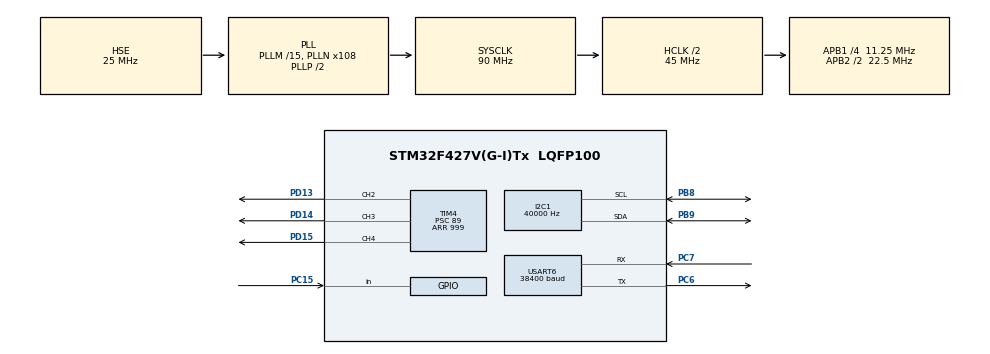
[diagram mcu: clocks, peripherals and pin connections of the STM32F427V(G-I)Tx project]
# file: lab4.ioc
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I2C1.ClockSpeed=40000
Mcu.Family=STM32F4
Mcu.Name=STM32F427V(G-I)Tx
Mcu.Package=LQFP100
NVIC.PriorityGroup=NVIC_PRIORITYGROUP_4
NVIC.USART6_IRQn=true\:0\:0\:false\:false\:true\:true\:true\:true
PB8.Mode=I2C
PB8.Signal=I2C1_SCL
PB9.Mode=I2C
PB9.Signal=I2C1_SDA
PC15/OSC32_OUT.Signal=GPIO_Input
PC6.Mode=Asynchronous
PC6.Signal=USART6_TX
PC7.Mode=Asynchronous
PC7.Signal=USART6_RX
PD13.Signal=S_TIM4_CH2
PD14.Signal=S_TIM4_CH3
PD15.Signal=S_TIM4_CH4
PH0/OSC_IN.Mode=HSE-External-Oscillator
PH0/OSC_IN.Signal=RCC_OSC_IN
PH1/OSC_OUT.Mode=HSE-External-Oscillator
PH1/OSC_OUT.Signal=RCC_OSC_OUT
ProjectManager.HeapSize=0x200
ProjectManager.StackSize=0x400
ProjectManager.TargetToolchain=STM32CubeIDE
RCC.48MHZClocksFreq_Value=45000000
RCC.AHBCLKDivider=RCC_SYSCLK_DIV2
RCC.AHBFreq_Value=45000000
RCC.APB1CLKDivider=RCC_HCLK_DIV4
RCC.APB1Freq_Value=11250000
RCC.APB1TimFreq_Value=22500000
RCC.APB2CLKDivider=RCC_HCLK_DIV2
RCC.APB2Freq_Value=22500000
RCC.APB2TimFreq_Value=45000000
RCC.CortexFreq_Value=45000000
RCC.HCLKFreq_Value=45000000
RCC.HSE_VALUE=25000000
RCC.HSI_VALUE=16000000
RCC.LSE_VALUE=32768
RCC.PLLM=15
RCC.PLLN=108
RCC.PLLSourceVirtual=RCC_PLLSOURCE_HSE
RCC.SYSCLKFreq_VALUE=90000000
RCC.SYSCLKSource=RCC_SYSCLKSOURCE_PLLCLK
RCC.VCOOutputFreq_Value=180000000
SH.S_TIM4_CH2.0=TIM4_CH2,PWM Generation2 CH2
SH.S_TIM4_CH3.0=TIM4_CH3,PWM Generation3 CH3
SH.S_TIM4_CH4.0=TIM4_CH4,PWM Generation4 CH4
TIM4.Channel-PWM\ Generation2\ CH2=TIM_CHANNEL_2
TIM4.Channel-PWM\ Generation3\ CH3=TIM_CHANNEL_3
TIM4.Channel-PWM\ Generation4\ CH4=TIM_CHANNEL_4
TIM4.Period=999
TIM4.Prescaler=89
TIM4.Pulse-PWM\ Generation2\ CH2=500
TIM4.Pulse-PWM\ Generation3\ CH3=500
TIM4.Pulse-PWM\ Generation4\ CH4=500
USART6.BaudRate=38400
USART6.VirtualMode=VM_ASYNC
VP_TIM4_VS_ClockSourceINT.Mode=Internal
board=custom

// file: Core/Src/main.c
/* USER CODE BEGIN Header */
/**
 ******************************************************************************
 * @file           : main.c
 * @brief          : Main program body
 ******************************************************************************
 * @attention
 *
 * Copyright (c) 2025 STMicroelectronics.
 * All rights reserved.
 *
 * This software is licensed under terms that can be found in the LICENSE file
 * in the root directory of this software component.
 * If no LICENSE file comes with this software, it is provided AS-IS.
 *
 ******************************************************************************
 */
/* USER CODE END Header */
#include "main.h"
#include "i2c.h"
#include "tim.h"
#include "usart.h"
#include "gpio.h"
#include "button_driver.h"

/* USER CODE BEGIN Includes */
#include "usart_drv.h"
#include <stdio.h>
#include <stdint.h>
/* USER CODE END Includes */

/* USER CODE BEGIN PTD */
typedef enum
{
  PRACTICAL_MODE,
  KEYBOARD_TEST_MODE
} CurrentMode_t;
CurrentMode_t current_mode = PRACTICAL_MODE;

typedef struct {
    int last_state;
    uint32_t last_tick;
    bool pressed_flag;
} KB_Button_t;

typedef enum
{
  MODE_WORK,
  MODE_CONFIG_SLOT,
  MODE_CONFIG_COLOR,
  MODE_CONFIG_BRIGHTNESS
} Mode_t;
Mode_t mode = MODE_WORK;

typedef enum
{
  LED_GREEN,
  LED_YELLOW,
  LED_RED
} LedColor_t;

typedef struct
{
  LedColor_t color;
  uint8_t duty;
} LedSlot_t;

LedSlot_t slots[9] = {
    {LED_GREEN, 10}, {LED_GREEN, 40}, {LED_GREEN, 100}, {LED_YELLOW, 10}, {LED_YELLOW, 40}, {LED_YELLOW, 100}, {LED_RED, 10}, {LED_RED, 40}, {LED_RED, 100}};

uint8_t selected_slot = 0;
/* USER CODE END PTD */

/* USER CODE BEGIN PD */
#define KB_ADDR (0x71 << 1)

#define BUF_SIZE 8192

#define KB_I2C_ADDRESS (0xE2)
#define KB_I2C_READ_ADDRESS ((KB_I2C_ADDRESS) | 1)
#define KB_I2C_WRITE_ADDRESS ((KB_I2C_ADDRESS) & ~1)
#define KB_INPUT_REG (0x0)
#define KB_OUTPUT_REG (0x1)
#define KB_CONFIG_REG (0x3)
#define KB_DEBOUNCE_DELAY_MS (50)
#define KB_MAX_KEYS 12
/* USER CODE END PD */

void SystemClock_Config(void);
/* USER CODE BEGIN PFP */
void uart_println(const char *s)
{
  USART_DRV_TxStr(s);
  USART_DRV_TxStr("\n");
}
void set_led_pwm(LedSlot_t cfg)
{
  __HAL_TIM_SET_COMPARE(&htim4, TIM_CHANNEL_2, 0);
  __HAL_TIM_SET_COMPARE(&htim4, TIM_CHANNEL_3, 0);
  __HAL_TIM_SET_COMPARE(&htim4, TIM_CHANNEL_4, 0);

  uint32_t value = cfg.duty * 10;

  switch (cfg.color)
  {
  case LED_GREEN:
    __HAL_TIM_SET_COMPARE(&htim4, TIM_CHANNEL_2, value);
    break;
  case LED_YELLOW:
    __HAL_TIM_SET_COMPARE(&htim4, TIM_CHANNEL_3, value);
    break;
  case LED_RED:
    __HAL_TIM_SET_COMPARE(&htim4, TIM_CHANNEL_4, value);
    break;
  }
}

static uint8_t edit_slot = 0;

void handle_input(int input)
{
  if ((mode == MODE_CONFIG_SLOT) && (input >= 1 && input <= 9))
  {
    edit_slot = input - 1;
    set_led_pwm(slots[edit_slot]);
    mode = MODE_CONFIG_COLOR;
    uart_println("Select LED color: 1(green), 2(yellow), 3(red)");
  }
  else if ((mode == MODE_CONFIG_COLOR) && (input == 1 || input == 2 || input == 3))
  {
    switch (input)
    {
    case 1:
      slots[edit_slot].color = LED_GREEN;
      break;
    case 2:
      slots[edit_slot].color = LED_YELLOW;
      break;
    case 3:
      slots[edit_slot].color = LED_RED;
      break;
    }
    set_led_pwm(slots[edit_slot]);
    mode = MODE_CONFIG_BRIGHTNESS;
    uart_println("Use +/- to change brightness, Enter to save");
  }
  else if ((mode == MODE_CONFIG_BRIGHTNESS) && (input == 1 || input == 2))
  {
    int delta = (input == 1) ? 10 : -10;
    int result = slots[edit_slot].duty + delta;
    if (result > 100)
    {
      result = 100;
    }
    else if (result < 0)
    {
      result = 0;
    }
    slots[edit_slot].duty = result;
    set_led_pwm(slots[edit_slot]);

    char buf[32];
    sprintf(buf, "Brightness: %d%%", slots[edit_slot].duty);
    uart_println(buf);
  }
  else if (input == 12)
  {
    mode = MODE_WORK;
    uart_println("Saved, back to WORK mode");
  }
  else
  {
    uart_println("Invalid input");
  }
}

static KB_Button_t kb_button = { .last_state = -1, .last_tick = 0, .pressed_flag = false };
int KB_ScanRaw(void)
{
    uint8_t reg_buffer = 0xFF;
    uint8_t tmp = 0x00;
    int i = 0;
    int index = -1;

    HAL_I2C_Mem_Write(&hi2c1, KB_I2C_WRITE_ADDRESS, KB_OUTPUT_REG, 1, &tmp, 1, 100);

    for (int row = 0; row < 4; row++)
    {
        uint8_t cfg = ~(1 << row);
        HAL_I2C_Mem_Write(&hi2c1, KB_I2C_WRITE_ADDRESS, KB_CONFIG_REG, 1, &cfg, 1, 100);
        HAL_Delay(5);
        HAL_I2C_Mem_Read(&hi2c1, KB_I2C_READ_ADDRESS, KB_INPUT_REG, 1, &reg_buffer, 1, 100);

        uint8_t colbits = reg_buffer >> 4;

        if (colbits != 7 && index != -1)
            return -1;

        switch (colbits)
        {
            case 6:
            	index = (i==0)? row*3 + 1 : -1;
            	i++;
            	break;
            case 5:
            	index = (i==0)? row*3 + 2 : -1;
            	i++;
            	break;
            case 3:
            	index = (i==0)? row*3 + 3 : -1;
            	i++;
            	break;
            default: break;
        }
    }

    return index;
}

int KB_Scan(void)
{
    int raw = KB_ScanRaw();
    uint32_t tick = HAL_GetTick();

    if (raw != kb_button.last_state)
    {
        if ((tick - kb_button.last_tick) >= KB_DEBOUNCE_DELAY_MS)
        {
            kb_button.last_state = raw;
            kb_button.last_tick = tick;
            if (raw != -1)
            {
                kb_button.pressed_flag = true;
            }
        }
    }
    else
    {
        kb_button.last_tick = tick;
    }

    if (kb_button.pressed_flag)
    {
        kb_button.pressed_flag = false;
        return kb_button.last_state;
    }
    return -1;
}

/* USER CODE END PFP */

int main(void)
{

  /* MCU Configuration--------------------------------------------------------*/

  /* Reset of all peripherals, Initializes the Flash interface and the Systick. */
  HAL_Init();

  /* Configure the system clock */
  SystemClock_Config();

  /* Initialize all configured peripherals */
  MX_GPIO_Init();
  MX_I2C1_Init();
  MX_TIM4_Init();
  MX_USART6_UART_Init();
  /* USER CODE BEGIN 2 */
  USART_DRV_Init(&huart6);
  USART_DRV_EnableInterrupts(true);
  USART_DRV_SetEcho(true);

  HAL_TIM_PWM_Start(&htim4, TIM_CHANNEL_2);
  HAL_TIM_PWM_Start(&htim4, TIM_CHANNEL_3);
  HAL_TIM_PWM_Start(&htim4, TIM_CHANNEL_4);
  set_led_pwm(slots[selected_slot]);

//  uint8_t config = 0b11110000;
//  HAL_I2C_Mem_Write(&hi2c1, KB_ADDR, 0x03, 1, &config, 1, 100);
  /* USER CODE END 2 */

  /* Infinite loop */
  /* USER CODE BEGIN WHILE */
  int input = -1;
  while (1)
  {
    BUTTON_Process();

    if (BUTTON_WasPressed())
    {
      if (current_mode == PRACTICAL_MODE)
      {
        current_mode = KEYBOARD_TEST_MODE;
        uart_println("SET KEYBOARD_TEST_MODE");
      }
      else
      {
        current_mode = PRACTICAL_MODE;
        uart_println("SET PRACTICAL_MODE");
      }
    }

    input = KB_Scan();

    if (input != -1)
    {
      if (current_mode == KEYBOARD_TEST_MODE)
      {
        char tmp_buf[16];
        sprintf(tmp_buf, "%u", input);
        uart_println(tmp_buf);
      }
      else
      {
        if (mode != MODE_WORK)
        {
          handle_input(input);
          continue;
        }
        switch (input)
        {
        case 1 ... 9:
          set_led_pwm(slots[input - 1]);
          char buf[32];
          sprintf(buf, "Set mode %d", input);
          uart_println(buf);
          break;
        case 12:
          mode = MODE_CONFIG_SLOT;
          USART_DRV_TxStr("CONFIG_MODE\nSelect slot (from 1 to 9):\n");
          break;
        default:
          uart_println("UNKNOWN COMMAND");
          break;
        }
      }
    }

    /* USER CODE END WHILE */

  }
}

void SystemClock_Config(void)
{
  RCC_OscInitTypeDef RCC_OscInitStruct = {0};
  RCC_ClkInitTypeDef RCC_ClkInitStruct = {0};

  /** Configure the main internal regulator output voltage
   */
  __HAL_RCC_PWR_CLK_ENABLE();
  __HAL_PWR_VOLTAGESCALING_CONFIG(PWR_REGULATOR_VOLTAGE_SCALE3);

  /** Initializes the RCC Oscillators according to the specified parameters
   * in the RCC_OscInitTypeDef structure.
   */
  RCC_OscInitStruct.OscillatorType = RCC_OSCILLATORTYPE_HSE;
  RCC_OscInitStruct.HSEState = RCC_HSE_ON;
  RCC_OscInitStruct.PLL.PLLState = RCC_PLL_ON;
  RCC_OscInitStruct.PLL.PLLSource = RCC_PLLSOURCE_HSE;
  RCC_OscInitStruct.PLL.PLLM = 15;
  RCC_OscInitStruct.PLL.PLLN = 108;
  RCC_OscInitStruct.PLL.PLLP = RCC_PLLP_DIV2;
  RCC_OscInitStruct.PLL.PLLQ = 4;
  if (HAL_RCC_OscConfig(&RCC_OscInitStruct) != HAL_OK)
  {
    Error_Handler();
  }

  /** Initializes the CPU, AHB and APB buses clocks
   */
  RCC_ClkInitStruct.ClockType = RCC_CLOCKTYPE_HCLK | RCC_CLOCKTYPE_SYSCLK | RCC_CLOCKTYPE_PCLK1 | RCC_CLOCKTYPE_PCLK2;
  RCC_ClkInitStruct.SYSCLKSource = RCC_SYSCLKSOURCE_PLLCLK;
  RCC_ClkInitStruct.AHBCLKDivider = RCC_SYSCLK_DIV2;
  RCC_ClkInitStruct.APB1CLKDivider = RCC_HCLK_DIV4;
  RCC_ClkInitStruct.APB2CLKDivider = RCC_HCLK_DIV2;

  if (HAL_RCC_ClockConfig(&RCC_ClkInitStruct, FLASH_LATENCY_1) != HAL_OK)
  {
    Error_Handler();
  }
}

void Error_Handler(void)
{
  __disable_irq();
  while (1)
  {
  }
}
